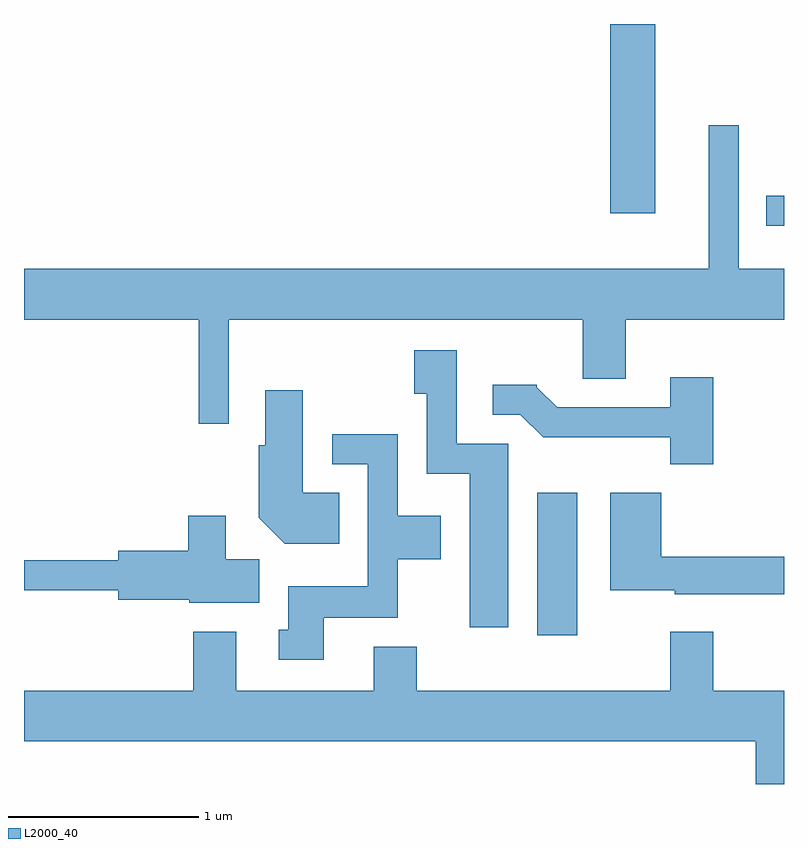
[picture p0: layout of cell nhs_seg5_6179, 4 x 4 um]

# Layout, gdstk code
import gdstk
lib = gdstk.Library(unit=1e-6, precision=1e-09)
def R(c, l, rs):  # rectangles x0, y0, x1, y1
    for r in rs: c.add(gdstk.rectangle(r[:2], r[2:], *l))
def P(c, l, *ps):  # polygons
    for p in ps: c.add(gdstk.Polygon(p, *l))
L2000_40 = (2000, 40)

nhs_seg5_6179 = lib.new_cell('nhs_seg5_6179')
R(nhs_seg5_6179, L2000_40, [(370.311,1512.856,370.524,1513.604), (371.518,1515.011,371.611,1515.169), (370.696,1515.076,370.934,1516.072)])
P(nhs_seg5_6179, L2000_40, [(368.689,1514.516),(370.551,1514.516),(370.551,1514.206),(370.779,1514.206),(370.779,1514.516),(371.611,1514.516),(371.611,1514.784),(371.374,1514.784),(371.374,1515.538),(371.216,1515.538),(371.216,1514.784),(367.611,1514.784),(367.611,1514.516),(368.531,1514.516),(368.531,1513.968),(368.689,1513.968)],
  [(370.159,1513.864),(369.889,1513.864),(369.889,1514.354),(369.666,1514.354),(369.666,1514.126),(369.731,1514.126),(369.731,1513.706),(369.956,1513.706),(369.956,1512.896),(370.159,1512.896)],
  [(371.239,1514.214),(371.011,1514.214),(371.011,1514.054),(370.417,1514.054),(370.31,1514.161),(370.31,1514.174),(370.078,1514.174),(370.078,1514.016),(370.224,1514.016),(370.344,1513.896),(371.011,1513.896),(371.011,1513.756),(371.239,1513.756)],
  [(369.269,1513.604),(369.079,1513.604),(369.079,1514.144),(368.881,1514.144),(368.881,1513.854),(368.846,1513.854),(368.846,1513.474),(368.984,1513.336),(369.269,1513.336)],
  [(369.189,1512.946),(369.579,1512.946),(369.579,1513.256),(369.804,1513.256),(369.804,1513.484),(369.579,1513.484),(369.579,1513.914),(369.233,1513.914),(369.233,1513.756),(369.421,1513.756),(369.421,1513.114),(369.001,1513.114),(369.001,1512.884),(368.953,1512.884),(368.953,1512.726),(369.189,1512.726)],
  [(371.611,1513.269),(370.964,1513.269),(370.964,1513.604),(370.696,1513.604),(370.696,1513.091),(371.036,1513.091),(371.036,1513.071),(371.611,1513.071)],
  [(368.849,1513.254),(368.674,1513.254),(368.674,1513.484),(368.476,1513.484),(368.476,1513.299),(368.106,1513.299),(368.106,1513.249),(367.611,1513.249),(367.611,1513.091),(368.106,1513.091),(368.106,1513.041),(368.48,1513.041),(368.48,1513.026),(368.849,1513.026)],
  [(371.611,1512.564),(371.239,1512.564),(371.239,1512.874),(371.011,1512.874),(371.011,1512.564),(369.679,1512.564),(369.679,1512.794),(369.451,1512.794),(369.451,1512.564),(368.729,1512.564),(368.729,1512.874),(368.501,1512.874),(368.501,1512.564),(367.611,1512.564),(367.611,1512.296),(371.461,1512.296),(371.461,1512.072),(371.611,1512.072)])

lib.write_gds('nhs_seg5_6179.gds')
